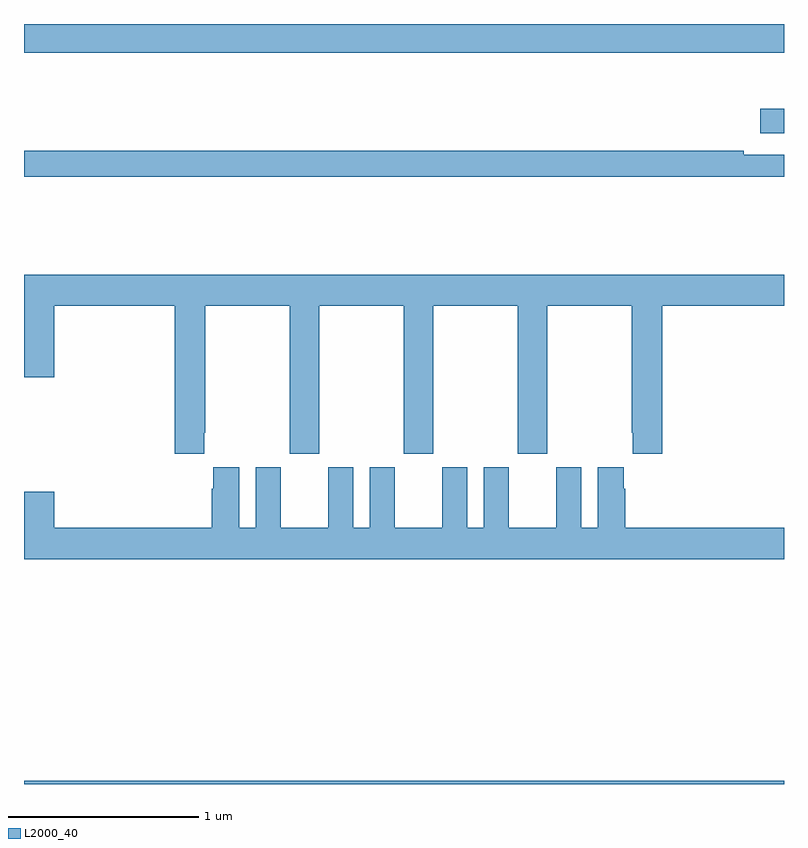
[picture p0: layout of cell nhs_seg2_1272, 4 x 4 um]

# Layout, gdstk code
import gdstk
lib = gdstk.Library(unit=1e-6, precision=1e-09)
def R(c, l, rs):  # rectangles x0, y0, x1, y1
    for r in rs: c.add(gdstk.rectangle(r[:2], r[2:], *l))
def P(c, l, *ps):  # polygons
    for p in ps: c.add(gdstk.Polygon(p, *l))
L2000_40 = (2000, 40)

nhs_seg2_1272 = lib.new_cell('nhs_seg2_1272')
R(nhs_seg2_1272, L2000_40, [(177,631.8,181,631.816), (180.876,635.225,181,635.355), (177,635.648,181,635.8)])
P(nhs_seg2_1272, L2000_40, [(181,635.112),(180.788,635.112),(180.788,635.132),(177,635.132),(177,634.996),(181,634.996)],
  [(177.949,633.649),(177.954,633.649),(177.954,634.316),(178.399,634.316),(178.399,633.537),(178.554,633.537),(178.554,634.316),(178.999,634.316),(178.999,633.537),(179.154,633.537),(179.154,634.316),(179.599,634.316),(179.599,633.537),(179.754,633.537),(179.754,634.316),(180.199,634.316),(180.199,633.649),(180.203,633.649),(180.203,633.537),(180.359,633.537),(180.359,634.316),(181,634.316),(181,634.48),(177,634.48),(177,633.942),(177.16,633.942),(177.16,634.316),(177.794,634.316),(177.794,633.537),(177.949,633.537)],
  [(181,633.148),(180.164,633.148),(180.164,633.353),(180.157,633.353),(180.157,633.466),(180.02,633.466),(180.02,633.148),(179.932,633.148),(179.932,633.466),(179.801,633.466),(179.801,633.148),(179.551,633.148),(179.551,633.466),(179.42,633.466),(179.42,633.148),(179.332,633.148),(179.332,633.466),(179.201,633.466),(179.201,633.148),(178.951,633.148),(178.951,633.466),(178.82,633.466),(178.82,633.148),(178.732,633.148),(178.732,633.466),(178.601,633.466),(178.601,633.148),(178.351,633.148),(178.351,633.466),(178.22,633.466),(178.22,633.148),(178.132,633.148),(178.132,633.466),(177.995,633.466),(177.995,633.353),(177.989,633.353),(177.989,633.148),(177.16,633.148),(177.16,633.337),(177,633.337),(177,632.984),(181,632.984)])

lib.write_gds('nhs_seg2_1272.gds')
